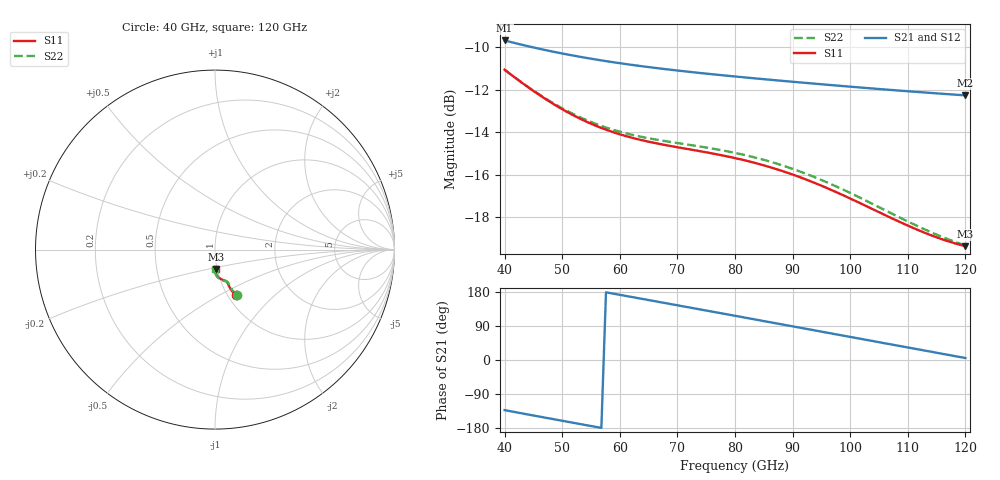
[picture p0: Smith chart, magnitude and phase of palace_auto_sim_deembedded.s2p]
! Created with skrf 1.11.0 (http://scikit-rf.org).
# GHz S DB R 50.0
!freq dBS11 angS11 dBS21 angS21 dBS12 angS12 dBS22 angS22
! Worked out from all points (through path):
!   101 points, 40 GHz to 120 GHz, reference 50 ohm
!   highest |S21| = -9.68 dB at 40 GHz (marker M1); lowest = -12.3 dB at 120 GHz (marker M2)
!   group delay of S21, straight-line fit = 7.72 ps
!   lowest |S11| = -19.4 dB at 120 GHz (marker M3), VSWR 1.24, Z = 49.4 - j10.7 ohm
!   |S11| at or under -10 dB: start of sweep to end of sweep
!   |S22| runs from -19.3 to -11.1 dB; largest |S21 - S12| = 4.6e-14
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40  -11.06 -65.4  -9.68 -132.3  -9.68 -132.3  -11.06 -64.6
43.2  -11.71 -67.0  -9.90 -141.4  -9.90 -141.4  -11.70 -66.0
46.4  -12.31 -68.0  -10.10 -150.3  -10.10 -150.3  -12.29 -67.0
49.6  -12.86 -68.7  -10.27 -159.3  -10.27 -159.3  -12.81 -67.6
53.6  -13.43 -69.1  -10.48 -170.3  -10.48 -170.3  -13.36 -67.9
56.8  -13.80 -69.2  -10.62 -179.2  -10.62 -179.2  -13.70 -68.0
60  -14.10 -69.4  -10.75 172.0  -10.75 172.0  -13.98 -68.2
63.2  -14.34 -69.8  -10.87 163.2  -10.87 163.2  -14.19 -68.6
67.2  -14.57 -70.5  -11.01 152.1  -11.01 152.1  -14.39 -69.5
73.6  -14.88 -72.7  -11.20 134.4  -11.20 134.4  -14.66 -71.9
76.8  -15.04 -74.2  -11.29 125.5  -11.29 125.5  -14.81 -73.6
80  -15.22 -75.8  -11.38 116.7  -11.38 116.7  -14.97 -75.4
83.2  -15.43 -77.7  -11.46 107.8  -11.46 107.8  -15.17 -77.4
86.4  -15.67 -79.6  -11.54 98.8  -11.54 98.8  -15.41 -79.5
89.6  -15.95 -81.4  -11.62 89.9  -11.62 89.9  -15.69 -81.6
93.6  -16.36 -83.7  -11.71 78.8  -11.71 78.8  -16.09 -84.1
96.8  -16.73 -85.2  -11.79 69.9  -11.79 69.9  -16.46 -85.9
100  -17.12 -86.5  -11.86 60.9  -11.86 60.9  -16.86 -87.5
107.2  -18.05 -88.2  -12.01 40.9  -12.01 40.9  -17.82 -89.8
113.6  -18.80 -88.1  -12.14 23.1  -12.14 23.1  -18.65 -90.3
116.8  -19.11 -87.6  -12.21 14.1  -12.21 14.1  -19.02 -90.0
120  -19.36 -86.9  -12.27 5.2  -12.27 5.2  -19.33 -89.5
